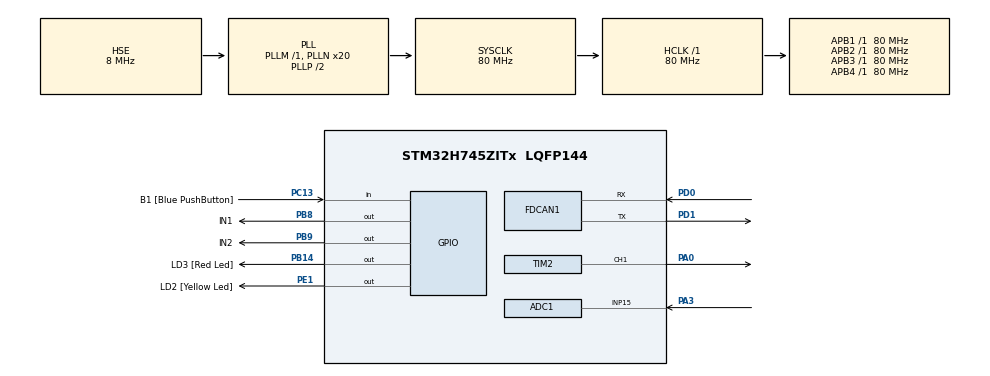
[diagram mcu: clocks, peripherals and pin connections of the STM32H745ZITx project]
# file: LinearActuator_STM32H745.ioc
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ADC1.Channel-0\#ChannelRegularConversion=ADC_CHANNEL_15
ADC1.NbrOfConversionFlag=1
ADC1.OffsetNumber-0\#ChannelRegularConversion=ADC_OFFSET_NONE
ADC1.OffsetSignedSaturation-0\#ChannelRegularConversion=DISABLE
ADC1.Rank-0\#ChannelRegularConversion=1
ADC1.Resolution=ADC_RESOLUTION_8B
ADC1.SamplingTime-0\#ChannelRegularConversion=ADC_SAMPLETIME_1CYCLE_5
ADC1.master=1
CortexM4.IPs=FATFS_M4\:I,FREERTOS_M4\:I,IWDG2\:I,RCC,WWDG2\:I,DMA,BDMA,MDMA,NVIC2\:I,DEBUG,USB_DEVICE_M4\:I,USB_HOST_M4\:I,PDM2PCM_M4\:I,PWR,RESMGR_UTILITY,SYS_M4\:I,CORTEX_M4\:I,OPENAMP_M4\:I,VREFBUF
CortexM7.IPs=FATFS_M7\:I,FREERTOS_M7\:I,IWDG1\:I,RCC\:I,WWDG1\:I,DMA\:I,BDMA\:I,MDMA\:I,NVIC1\:I,SYS\:I,CORTEX_M7\:I,DEBUG\:I,USB_DEVICE_M7\:I,USB_HOST_M7\:I,PDM2PCM_M7\:I,PWR\:I,RESMGR_UTILITY\:I,OPENAMP_M7\:I,VREFBUF\:I,FDCAN1\:I,TIM2\:I,ADC1\:I
CortexM7.Pins=PB14,PB8,PB9,PE1
FDCAN1.AutoRetransmission=DISABLE
FDCAN1.FrameFormat=FDCAN_FRAME_CLASSIC
FDCAN1.NominalPrescaler=0x1
FDCAN1.NominalSyncJumpWidth=0x8
FDCAN1.NominalTimeSeg1=0x1F
FDCAN1.NominalTimeSeg2=0x8
FDCAN1.ProtocolException=ENABLE
FDCAN1.RxFifo0ElmtsNbr=1
FDCAN1.StdFiltersNbr=1
FDCAN1.TransmitPause=DISABLE
FDCAN1.TxFifoQueueElmtsNbr=1
Mcu.Family=STM32H7
Mcu.Name=STM32H745ZITx
Mcu.Package=LQFP144
NVIC1.FDCAN1_IT0_IRQn=true\:0\:0\:false\:false\:true\:true\:true\:true
NVIC1.PriorityGroup=NVIC_PRIORITYGROUP_4
NVIC2.PriorityGroup=NVIC_PRIORITYGROUP_4
PA0.PinAttribute=CortexM7
PA0.Signal=S_TIM2_CH1_ETR
PA3.PinAttribute=CortexM7
PA3.Signal=ADCx_INP15
PB14.GPIO_Label=LD3 [Red Led]
PB14.PinAttribute=CortexM7
PB14.Signal=GPIO_Output
PB8.GPIO_Label=IN1
PB8.PinAttribute=CortexM7
PB8.Signal=GPIO_Output
PB9.GPIO_Label=IN2
PB9.PinAttribute=CortexM7
PB9.Signal=GPIO_Output
PC13.GPIO_Label=B1 [Blue PushButton]
PC13.PinAttribute=Free
PC13.Signal=GPIO_Input
PC14-OSC32_IN\ (OSC32_IN).Mode=LSE-External-Oscillator
PC14-OSC32_IN\ (OSC32_IN).PinAttribute=CortexM7
PC14-OSC32_IN\ (OSC32_IN).Signal=RCC_OSC32_IN
PC15-OSC32_OUT\ (OSC32_OUT).Mode=LSE-External-Oscillator
PC15-OSC32_OUT\ (OSC32_OUT).PinAttribute=CortexM7
PC15-OSC32_OUT\ (OSC32_OUT).Signal=RCC_OSC32_OUT
PD0.GPIO_Mode=GPIO_MODE_AF_PP
PD0.GPIO_PuPd=GPIO_NOPULL
PD0.GPIO_Speed=GPIO_SPEED_FREQ_LOW
PD0.Mode=FDCAN_Activate
PD0.PinAttribute=CortexM7
PD0.Signal=FDCAN1_RX
PD1.GPIO_Mode=GPIO_MODE_AF_PP
PD1.GPIO_PuPd=GPIO_NOPULL
PD1.GPIO_Speed=GPIO_SPEED_FREQ_LOW
PD1.Mode=FDCAN_Activate
PD1.PinAttribute=CortexM7
PD1.Signal=FDCAN1_TX
PD8.GPIO_Label=STLINK_RX
PD8.PinAttribute=CortexM7
PD8.Signal=USART3_TX
PD9.GPIO_Label=STLINK_TX
PD9.PinAttribute=CortexM7
PD9.Signal=USART3_RX
PE1.GPIO_Label=LD2 [Yellow Led]
PE1.PinAttribute=CortexM7
PE1.Signal=GPIO_Output
PH0-OSC_IN\ (PH0).Mode=HSE-External-Oscillator
PH0-OSC_IN\ (PH0).PinAttribute=CortexM7
PH0-OSC_IN\ (PH0).Signal=RCC_OSC_IN
PH1-OSC_OUT\ (PH1).Mode=HSE-External-Oscillator
PH1-OSC_OUT\ (PH1).PinAttribute=CortexM7
PH1-OSC_OUT\ (PH1).Signal=RCC_OSC_OUT
ProjectManager.HeapSize=M4-0x200,M7-0x200
ProjectManager.StackSize=M4-0x400,M7-0x400
ProjectManager.TargetToolchain=STM32CubeIDE
RCC.ADCFreq_Value=37500000
RCC.APB1Freq_Value=80000000
RCC.APB2Freq_Value=80000000
RCC.APB3Freq_Value=80000000
RCC.APB4Freq_Value=80000000
RCC.CortexFreq_Value=80000000
RCC.DIVM1=1
RCC.DIVM2=1
RCC.DIVN1=20
RCC.DIVN2=18
RCC.DIVP2=4
RCC.DIVQ1=4
RCC.HCLKFreq_Value=80000000
RCC.HSE_VALUE=8000000
RCC.PLL1_VCI_Range-AdvancedSettings=RCC_PLL1VCIRANGE_0
RCC.PLL2FRACN=6144
RCC.PLLFRACN=0
RCC.PLLSourceVirtual=RCC_PLLSOURCE_HSE
RCC.SYSCLKFreq_VALUE=80000000
RCC.SYSCLKSource=RCC_SYSCLKSOURCE_PLLCLK
RCC.USBCLockSelection=RCC_USBCLKSOURCE_PLL3
RCC.USBFreq_Value=16125000
SH.ADCx_INP15.0=ADC1_INP15,IN15-Single-Ended
SH.S_TIM2_CH1_ETR.0=TIM2_CH1,PWM Generation1 CH1
TIM2.Channel-PWM\ Generation1\ CH1=TIM_CHANNEL_1
TIM2.Period=255
VP_SYS_M4_VS_Systick.Mode=SysTick
board=NUCLEO-H745ZI-Q

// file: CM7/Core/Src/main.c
/* USER CODE BEGIN Header */
/* USER CODE END Header */
#include "main.h"

ADC_HandleTypeDef hadc1;

FDCAN_HandleTypeDef hfdcan1;

TIM_HandleTypeDef htim2;

/* USER CODE BEGIN PV */
FDCAN_RxHeaderTypeDef RxHeader;
uint8_t RxData[8];
FDCAN_TxHeaderTypeDef TxHeader;
uint8_t TxData[8];

FDCAN_FilterTypeDef sFilterConfig;
/* USER CODE END PV */

void SystemClock_Config(void);
static void MX_GPIO_Init(void);
static void MX_FDCAN1_Init(void);
static void MX_TIM2_Init(void);
static void MX_ADC1_Init(void);

int main(void)
{
  /* USER CODE BEGIN 1 */
  uint8_t set_p = 50;
  int16_t new_pos;
  int16_t pos;
  int16_t pwm;
  /* USER CODE END 1 */
/* USER CODE BEGIN Boot_Mode_Sequence_0 */
/* USER CODE END Boot_Mode_Sequence_0 */

/* USER CODE BEGIN Boot_Mode_Sequence_1 */
/* USER CODE END Boot_Mode_Sequence_1 */
  /* MCU Configuration--------------------------------------------------------*/

  /* Reset of all peripherals, Initializes the Flash interface and the Systick. */
  HAL_Init();

  /* Configure the system clock */
  SystemClock_Config();
/* USER CODE BEGIN Boot_Mode_Sequence_2 */
/* USER CODE END Boot_Mode_Sequence_2 */

  /* Initialize all configured peripherals */
  MX_GPIO_Init();
  MX_FDCAN1_Init();
  MX_TIM2_Init();
  MX_ADC1_Init();

  /* Infinite loop */
  while (1)
  {

    /* USER CODE BEGIN 3 */
	/* Start the Transmission process */

    if (HAL_FDCAN_AddMessageToTxFifoQ(&hfdcan1, &TxHeader, TxData) != HAL_OK)
    {
      /* Transmission request Error */
      Error_Handler();
    }
    else
    {
      //Here code that sends position to CAN
    }
	/* Start the Reception process */
	/* Retrieve Rx messages from RX FIFO0 */
	if (HAL_FDCAN_GetRxMessage(&hfdcan1, FDCAN_RX_FIFO0, &RxHeader, RxData) == HAL_OK)
	{
		//if ((RxHeader.Identifier == 0x255) && (RxHeader.IdType == FDCAN_STANDARD_ID) && (RxHeader.DataLength == FDCAN_DLC_BYTES_8))
		if(RxHeader.Identifier == 0x255)
		{
			HAL_GPIO_TogglePin(LD3_GPIO_Port,LD3_Pin);
			RxHeader.DataLength = FDCAN_DLC_BYTES_0;

		}
	}
	else
	{
		/* Reception Error */
		Error_Handler();
	}

	uint8_t aux = set_p;
	set_p = RxData[0];
	if (set_p != aux)
	{
		HAL_GPIO_TogglePin(LD2_GPIO_Port, LD2_Pin);
	}

	HAL_ADC_Start(&hadc1);
    HAL_ADC_PollForConversion(&hadc1, 100);
    uint8_t ADC_Val = HAL_ADC_GetValue(&hadc1);

    pos = (ADC_Val * 100 / 255);
    new_pos = pos - set_p;

    if(new_pos > 5)
    {
	  //Backward
	  pwm = (htim2.Instance -> ARR * (float)(0.2));
	  HAL_GPIO_WritePin(GPIOB, IN1_Pin, GPIO_PIN_RESET);
	  HAL_GPIO_WritePin(GPIOB, IN2_Pin, GPIO_PIN_SET);

    }
    else if(new_pos <- 5)
    {
	  //Forward
	  pwm = (htim2.Instance -> ARR * (float)(0.2));
	  HAL_GPIO_WritePin(GPIOB, IN2_Pin, GPIO_PIN_RESET);
	  HAL_GPIO_WritePin(GPIOB, IN1_Pin, GPIO_PIN_SET);

    }
    else
    {
	  //Stay
	  pwm = (htim2.Instance -> ARR * (float)(0));
	  HAL_GPIO_WritePin(GPIOB, IN1_Pin, GPIO_PIN_RESET);
	  HAL_GPIO_WritePin(GPIOB, IN2_Pin, GPIO_PIN_RESET);
    }
    htim2.Instance->CCR1 = pwm;
    HAL_ADC_Stop(&hadc1);

    TxData[0]=ADC_Val;

	HAL_Delay(2000);

  }
  /* USER CODE END 3 */
}

void SystemClock_Config(void)
{
  RCC_OscInitTypeDef RCC_OscInitStruct = {0};
  RCC_ClkInitTypeDef RCC_ClkInitStruct = {0};

  /** Supply configuration update enable
  */
  HAL_PWREx_ConfigSupply(PWR_DIRECT_SMPS_SUPPLY);
  /** Configure the main internal regulator output voltage
  */
  __HAL_PWR_VOLTAGESCALING_CONFIG(PWR_REGULATOR_VOLTAGE_SCALE3);

  while(!__HAL_PWR_GET_FLAG(PWR_FLAG_VOSRDY)) {}
  /** Macro to configure the PLL clock source
  */
  __HAL_RCC_PLL_PLLSOURCE_CONFIG(RCC_PLLSOURCE_HSE);
  /** Initializes the RCC Oscillators according to the specified parameters
  * in the RCC_OscInitTypeDef structure.
  */
  RCC_OscInitStruct.OscillatorType = RCC_OSCILLATORTYPE_HSE;
  RCC_OscInitStruct.HSEState = RCC_HSE_ON;
  RCC_OscInitStruct.PLL.PLLState = RCC_PLL_ON;
  RCC_OscInitStruct.PLL.PLLSource = RCC_PLLSOURCE_HSE;
  RCC_OscInitStruct.PLL.PLLM = 1;
  RCC_OscInitStruct.PLL.PLLN = 20;
  RCC_OscInitStruct.PLL.PLLP = 2;
  RCC_OscInitStruct.PLL.PLLQ = 4;
  RCC_OscInitStruct.PLL.PLLR = 2;
  RCC_OscInitStruct.PLL.PLLRGE = RCC_PLL1VCIRANGE_3;
  RCC_OscInitStruct.PLL.PLLVCOSEL = RCC_PLL1VCOMEDIUM;
  RCC_OscInitStruct.PLL.PLLFRACN = 0;
  if (HAL_RCC_OscConfig(&RCC_OscInitStruct) != HAL_OK)
  {
    Error_Handler();
  }
  /** Initializes the CPU, AHB and APB buses clocks
  */
  RCC_ClkInitStruct.ClockType = RCC_CLOCKTYPE_HCLK|RCC_CLOCKTYPE_SYSCLK
                              |RCC_CLOCKTYPE_PCLK1|RCC_CLOCKTYPE_PCLK2
                              |RCC_CLOCKTYPE_D3PCLK1|RCC_CLOCKTYPE_D1PCLK1;
  RCC_ClkInitStruct.SYSCLKSource = RCC_SYSCLKSOURCE_PLLCLK;
  RCC_ClkInitStruct.SYSCLKDivider = RCC_SYSCLK_DIV1;
  RCC_ClkInitStruct.AHBCLKDivider = RCC_HCLK_DIV1;
  RCC_ClkInitStruct.APB3CLKDivider = RCC_APB3_DIV1;
  RCC_ClkInitStruct.APB1CLKDivider = RCC_APB1_DIV1;
  RCC_ClkInitStruct.APB2CLKDivider = RCC_APB2_DIV1;
  RCC_ClkInitStruct.APB4CLKDivider = RCC_APB4_DIV1;

  if (HAL_RCC_ClockConfig(&RCC_ClkInitStruct, FLASH_LATENCY_1) != HAL_OK)
  {
    Error_Handler();
  }
}

static void MX_ADC1_Init(void)
{

  ADC_MultiModeTypeDef multimode = {0};
  ADC_ChannelConfTypeDef sConfig = {0};

  /** Common config
  */
  hadc1.Instance = ADC1;
  hadc1.Init.ClockPrescaler = ADC_CLOCK_ASYNC_DIV1;
  hadc1.Init.Resolution = ADC_RESOLUTION_8B;
  hadc1.Init.ScanConvMode = ADC_SCAN_DISABLE;
  hadc1.Init.EOCSelection = ADC_EOC_SINGLE_CONV;
  hadc1.Init.LowPowerAutoWait = DISABLE;
  hadc1.Init.ContinuousConvMode = DISABLE;
  hadc1.Init.NbrOfConversion = 1;
  hadc1.Init.DiscontinuousConvMode = DISABLE;
  hadc1.Init.ExternalTrigConv = ADC_SOFTWARE_START;
  hadc1.Init.ExternalTrigConvEdge = ADC_EXTERNALTRIGCONVEDGE_NONE;
  hadc1.Init.ConversionDataManagement = ADC_CONVERSIONDATA_DR;
  hadc1.Init.Overrun = ADC_OVR_DATA_PRESERVED;
  hadc1.Init.LeftBitShift = ADC_LEFTBITSHIFT_NONE;
  hadc1.Init.OversamplingMode = DISABLE;
  if (HAL_ADC_Init(&hadc1) != HAL_OK)
  {
    Error_Handler();
  }
  /** Configure the ADC multi-mode
  */
  multimode.Mode = ADC_MODE_INDEPENDENT;
  if (HAL_ADCEx_MultiModeConfigChannel(&hadc1, &multimode) != HAL_OK)
  {
    Error_Handler();
  }
  /** Configure Regular Channel
  */
  sConfig.Channel = ADC_CHANNEL_15;
  sConfig.Rank = ADC_REGULAR_RANK_1;
  sConfig.SamplingTime = ADC_SAMPLETIME_1CYCLE_5;
  sConfig.SingleDiff = ADC_SINGLE_ENDED;
  sConfig.OffsetNumber = ADC_OFFSET_NONE;
  sConfig.Offset = 0;
  sConfig.OffsetSignedSaturation = DISABLE;
  if (HAL_ADC_ConfigChannel(&hadc1, &sConfig) != HAL_OK)
  {
    Error_Handler();
  }

}

static void MX_FDCAN1_Init(void)
{

  hfdcan1.Instance = FDCAN1;
  hfdcan1.Init.FrameFormat = FDCAN_FRAME_CLASSIC;
  hfdcan1.Init.Mode = FDCAN_MODE_NORMAL;
  hfdcan1.Init.AutoRetransmission = DISABLE;
  hfdcan1.Init.TransmitPause = DISABLE;
  hfdcan1.Init.ProtocolException = ENABLE;
  hfdcan1.Init.NominalPrescaler = 0x1;
  hfdcan1.Init.NominalSyncJumpWidth = 0x8;
  hfdcan1.Init.NominalTimeSeg1 = 0x1F;
  hfdcan1.Init.NominalTimeSeg2 = 0x8;
  hfdcan1.Init.DataPrescaler = 1;
  hfdcan1.Init.DataSyncJumpWidth = 1;
  hfdcan1.Init.DataTimeSeg1 = 1;
  hfdcan1.Init.DataTimeSeg2 = 1;
  hfdcan1.Init.MessageRAMOffset = 0;
  hfdcan1.Init.StdFiltersNbr = 1;
  hfdcan1.Init.ExtFiltersNbr = 0;
  hfdcan1.Init.RxFifo0ElmtsNbr = 1;
  hfdcan1.Init.RxFifo0ElmtSize = FDCAN_DATA_BYTES_8;
  hfdcan1.Init.RxFifo1ElmtsNbr = 0;
  hfdcan1.Init.RxFifo1ElmtSize = FDCAN_DATA_BYTES_8;
  hfdcan1.Init.RxBuffersNbr = 0;
  hfdcan1.Init.RxBufferSize = FDCAN_DATA_BYTES_8;
  hfdcan1.Init.TxEventsNbr = 0;
  hfdcan1.Init.TxBuffersNbr = 0;
  hfdcan1.Init.TxFifoQueueElmtsNbr = 1;
  hfdcan1.Init.TxFifoQueueMode = FDCAN_TX_FIFO_OPERATION;
  hfdcan1.Init.TxElmtSize = FDCAN_DATA_BYTES_8;
  if (HAL_FDCAN_Init(&hfdcan1) != HAL_OK)
  {
    Error_Handler();
  }
  /* USER CODE BEGIN FDCAN1_Init 2 */
/* Configure Rx filter */
  sFilterConfig.IdType = FDCAN_STANDARD_ID;
  sFilterConfig.FilterIndex = 0;
  sFilterConfig.FilterType = FDCAN_FILTER_MASK;
  sFilterConfig.FilterConfig = FDCAN_FILTER_TO_RXFIFO0;
  sFilterConfig.FilterID1 = 0x321;
  sFilterConfig.FilterID2 = 0x7FF;
  if (HAL_FDCAN_ConfigFilter(&hfdcan1, &sFilterConfig) != HAL_OK)
  {
    /* Filter configuration Error */
    Error_Handler();
  }

  /* Start the FDCAN module */
  if (HAL_FDCAN_Start(&hfdcan1) != HAL_OK)
    /* Start Error */

  if (HAL_FDCAN_ActivateNotification(&hfdcan1, FDCAN_IT_RX_FIFO0_NEW_MESSAGE, 0) != HAL_OK)
    /* Notification Error */

  /* Prepare Tx Header */
  TxHeader.Identifier = 0x321;
  TxHeader.IdType = FDCAN_STANDARD_ID;
  TxHeader.TxFrameType = FDCAN_DATA_FRAME;
  TxHeader.DataLength = FDCAN_DLC_BYTES_8;
  TxHeader.ErrorStateIndicator = FDCAN_ESI_ACTIVE;
  TxHeader.BitRateSwitch = FDCAN_BRS_OFF;
  TxHeader.FDFormat = FDCAN_CLASSIC_CAN;
  TxHeader.TxEventFifoControl = FDCAN_NO_TX_EVENTS;
  TxHeader.MessageMarker = 0;
  /* USER CODE END FDCAN1_Init 2 */

}

static void MX_TIM2_Init(void)
{

  TIM_MasterConfigTypeDef sMasterConfig = {0};
  TIM_OC_InitTypeDef sConfigOC = {0};

  htim2.Instance = TIM2;
  htim2.Init.Prescaler = 0;
  htim2.Init.CounterMode = TIM_COUNTERMODE_UP;
  htim2.Init.Period = 255;
  htim2.Init.ClockDivision = TIM_CLOCKDIVISION_DIV1;
  htim2.Init.AutoReloadPreload = TIM_AUTORELOAD_PRELOAD_DISABLE;
  if (HAL_TIM_PWM_Init(&htim2) != HAL_OK)
  {
    Error_Handler();
  }
  sMasterConfig.MasterOutputTrigger = TIM_TRGO_RESET;
  sMasterConfig.MasterSlaveMode = TIM_MASTERSLAVEMODE_DISABLE;
  if (HAL_TIMEx_MasterConfigSynchronization(&htim2, &sMasterConfig) != HAL_OK)
  {
    Error_Handler();
  }
  sConfigOC.OCMode = TIM_OCMODE_PWM1;
  sConfigOC.Pulse = 0;
  sConfigOC.OCPolarity = TIM_OCPOLARITY_HIGH;
  sConfigOC.OCFastMode = TIM_OCFAST_DISABLE;
  if (HAL_TIM_PWM_ConfigChannel(&htim2, &sConfigOC, TIM_CHANNEL_1) != HAL_OK)
  {
    Error_Handler();
  }
  HAL_TIM_MspPostInit(&htim2);

}

static void MX_GPIO_Init(void)
{
  GPIO_InitTypeDef GPIO_InitStruct = {0};

  /* GPIO Ports Clock Enable */
  __HAL_RCC_GPIOC_CLK_ENABLE();
  __HAL_RCC_GPIOH_CLK_ENABLE();
  __HAL_RCC_GPIOA_CLK_ENABLE();
  __HAL_RCC_GPIOB_CLK_ENABLE();
  __HAL_RCC_GPIOD_CLK_ENABLE();
  __HAL_RCC_GPIOE_CLK_ENABLE();

  /*Configure GPIO pin Output Level */
  HAL_GPIO_WritePin(GPIOB, LD3_Pin|IN1_Pin|IN2_Pin, GPIO_PIN_RESET);

  /*Configure GPIO pin Output Level */
  HAL_GPIO_WritePin(LD2_GPIO_Port, LD2_Pin, GPIO_PIN_RESET);

  /*Configure GPIO pins : LD3_Pin IN1_Pin IN2_Pin */
  GPIO_InitStruct.Pin = LD3_Pin|IN1_Pin|IN2_Pin;
  GPIO_InitStruct.Mode = GPIO_MODE_OUTPUT_PP;
  GPIO_InitStruct.Pull = GPIO_NOPULL;
  GPIO_InitStruct.Speed = GPIO_SPEED_FREQ_LOW;
  HAL_GPIO_Init(GPIOB, &GPIO_InitStruct);

  /*Configure GPIO pin : LD2_Pin */
  GPIO_InitStruct.Pin = LD2_Pin;
  GPIO_InitStruct.Mode = GPIO_MODE_OUTPUT_PP;
  GPIO_InitStruct.Pull = GPIO_NOPULL;
  GPIO_InitStruct.Speed = GPIO_SPEED_FREQ_LOW;
  HAL_GPIO_Init(LD2_GPIO_Port, &GPIO_InitStruct);

}

void Error_Handler(void)
{
}
